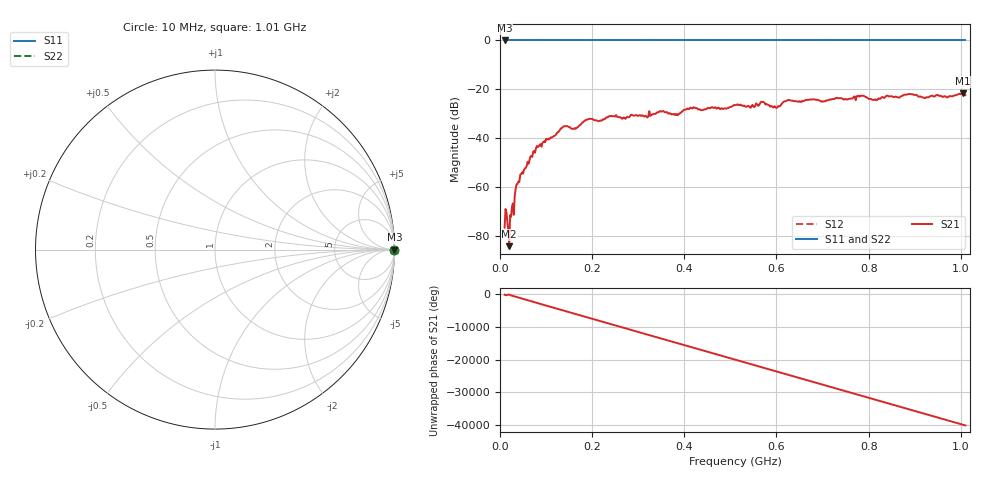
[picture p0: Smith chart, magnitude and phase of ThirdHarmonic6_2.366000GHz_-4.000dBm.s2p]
! 8/17/2025 3:40:00 AM
! C:\ANRITSUVNA\TEMP\TEMP.S2P
! CHANNEL.1
! TR.MEASUREMENT
! RAW.DATA
! RF.CORRECTION.OFF
! AVERAGING.OFF
! IF.BANDWIDTH: 5KHZ
! SWEEPTYPE:  FREQ.SWEEP(Linear)
! Reference Plane Port Info
! PORT:  PORT1  PORT2
! DISTANCE:  0  m  0  m
! TIME:  0  s  0  s
! PHASE.OFFSET:  0  deg.  0  deg.
! LOSS:  0  dB  0  dB
! REF.LOSS:  0  dB  0  dB
! REF.FREQ:  0  Hz  0  Hz
! Power Info
! POWER:  -20  dBm  -20  dBm
! EFF.POWER:  -20  dBm  -20  dBm
! SOURCE.ATTEN:  0  dB  0  dB
! TEST.ATTEN:  0  dB  0  dB
# GHZ S RI R 50.0
! FREQ.GHZ  S11RE  S11IM  S21RE  S21IM  S12RE  S12IM  S22RE  S22IM
!; PortSelection: Port_12
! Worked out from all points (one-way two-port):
!   501 points, 10 MHz to 1.01 GHz, reference 50 ohm
!   highest |S21| = -21.61 dB at 1.004 GHz (marker M1); lowest = -84.2 dB at 20 MHz (marker M2)
!   lowest |S11| = 0.0 dB at 10 MHz (marker M3)
!   |S11| at or under -10 dB: nowhere
!   |S22| runs from 0.0 to 0.0 dB; largest |S21 - S12| = 1.1
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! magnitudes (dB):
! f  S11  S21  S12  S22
! 10 MHz  0.0  -76.6  0.0  0.0
! 20 MHz  0.0  -84.2  0.0  0.0
! 40 MHz  0.0  -57.7  0.0  0.0
! 76 MHz  0.0  -46.0  0.0  0.0
! 136 MHz  0.0  -35.5  0.0  0.0
! 162 MHz  0.0  -35.9  0.0  0.0
! 178 MHz  0.0  -33.7  0.0  0.0
! 194 MHz  0.0  -32.0  0.0  0.0
! 344 MHz  0.0  -29.4  0.0  0.0
! 382 MHz  0.0  -30.5  0.0  0.0
! 416 MHz  0.0  -27.8  0.0  0.0
! 510 MHz  0.0  -26.4  0.0  0.0
! 548 MHz  0.0  -26.4  0.0  0.0
! 570 MHz  0.0  -25.1  0.0  0.0
! 598 MHz  0.0  -27.4  0.0  0.0
! 624 MHz  0.0  -24.4  0.0  0.0
! 678 MHz  0.0  -24.2  0.0  0.0
! 786 MHz  0.0  -22.6  0.0  0.0
! 814 MHz  0.0  -24.1  0.0  0.0
! 844 MHz  0.0  -22.9  0.0  0.0
! 1.004 GHz  0.0  -21.6  0.0  0.0
! 1.01 GHz  0.0  -22.4  0.0  0.0
